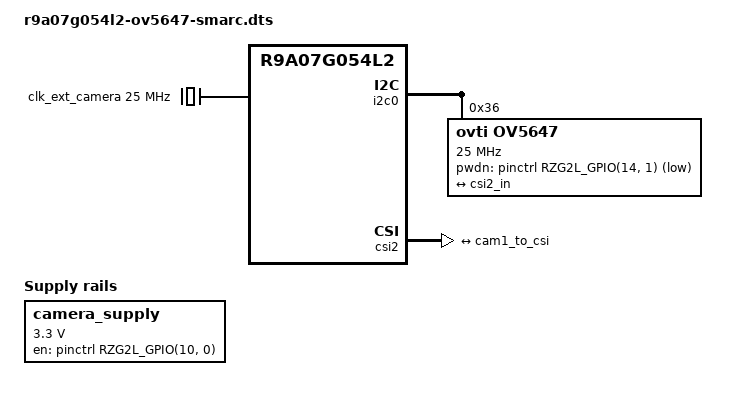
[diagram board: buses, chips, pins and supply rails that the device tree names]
// SPDX-License-Identifier: (GPL-2.0-only OR BSD-2-Clause)
/*
 * Device Tree Source for the RZ/V2L SMARC MXT board variant
 *
 * Copyright (C) 2024 MXT Creation SRL
 */

/dts-v1/;
#include "r9a07g054l2-mxt-smarc.dts"

/ {
	camera_supply: 3p3v {
		compatible = "regulator-fixed";
		regulator-name = "camera_supply";
		regulator-min-microvolt = <3300000>;
		regulator-max-microvolt = <3300000>;
		gpios = <&pinctrl RZG2L_GPIO(10, 0) 0>;
		startup-delay-us = <300000>;
		enable-active-high;
		regulator-always-on;
	};
};

&clk_ext_camera {
	compatible = "fixed-clock";
	#clock-cells = <0>;
	clock-frequency = <25000000>;
};

&i2c0 {
	pinctrl-0 = <&i2c0_pins>;
	pinctrl-names = "default";

	status = "okay";

	ov5647: camera@36 {
		compatible = "ovti,ov5647";
		reg = <0x36>;
		clock-names = "xclk";
		clocks = <&clk_ext_camera>;
		clock-frequency = <25000000>;
		pwdn-gpios = <&pinctrl RZG2L_GPIO(14, 1) GPIO_ACTIVE_LOW>;

		port {
			cam1_to_csi: endpoint {
				clock-lanes = <0>;
				data-lanes = <1 2>;
				remote-endpoint = <&csi2_in>;
			};
		};
	};

	/delete-node/ camera@3c;
};

&csi2 {
	status = "okay";

	ports {
		port {
			csi2_in: endpoint {
				clock-lanes = <0>;
				data-lanes = <1 2>;
				remote-endpoint = <&cam1_to_csi>;
			};
		};
	};
};

